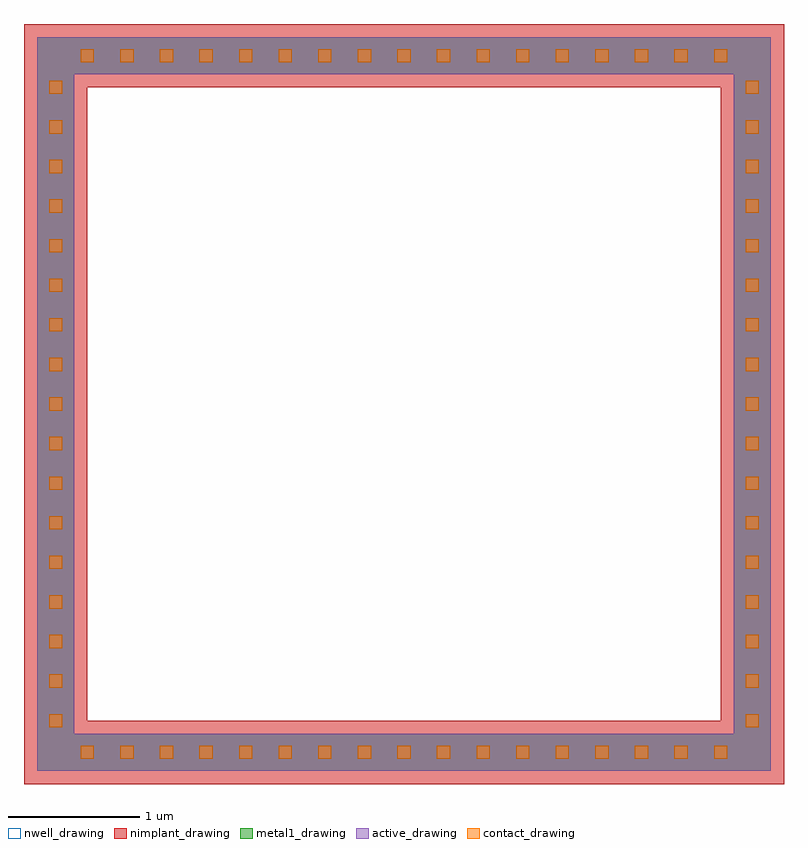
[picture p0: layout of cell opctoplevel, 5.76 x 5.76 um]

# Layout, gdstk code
import gdstk
lib = gdstk.Library(unit=1e-6, precision=1e-09)
def R(c, l, rs):  # rectangles x0, y0, x1, y1
    for r in rs: c.add(gdstk.rectangle(r[:2], r[2:], *l))
def A(c, l, x, y, w, h, nx, ny, dx, dy):  # array of equal rectangles
    R(c, l, [(x+i*dx, y+j*dy, x+i*dx+w, y+j*dy+h) for i in range(nx) for j in range(ny)])
active_drawing = (1, 0)
nwell_drawing = (3, 0)
nimplant_drawing = (5, 0)
contact_drawing = (7, 0)
metal1_drawing = (8, 0)

opctoplevel = lib.new_cell('opctoplevel')
R(opctoplevel, active_drawing, [(-0.28,-0.28,5.28,0), (-0.28,-0.28,0,5.28), (5,-0.28,5.28,5.28), (-0.28,5,5.28,5.28)])
R(opctoplevel, nwell_drawing, [(-0.38,-0.38,5.38,5.38)])
R(opctoplevel, nimplant_drawing, [(-0.38,-0.38,5.38,0.1), (-0.38,-0.38,0.1,5.38), (4.9,-0.38,5.38,5.38), (-0.38,4.9,5.38,5.38)])
A(opctoplevel, contact_drawing, 0.05, -0.19, 0.1, 0.1, 17, 2, 0.3, 5.28)
A(opctoplevel, contact_drawing, -0.19, 0.05, 0.1, 0.1, 1, 17, 0, 0.3)
A(opctoplevel, contact_drawing, 5.09, 0.05, 0.1, 0.1, 1, 17, 0, 0.3)
R(opctoplevel, metal1_drawing, [(-0.28,-0.28,5.28,0), (-0.28,-0.28,0,5.28), (5,-0.28,5.28,5.28), (-0.28,5,5.28,5.28)])

lib.write_gds('opctoplevel.gds')
